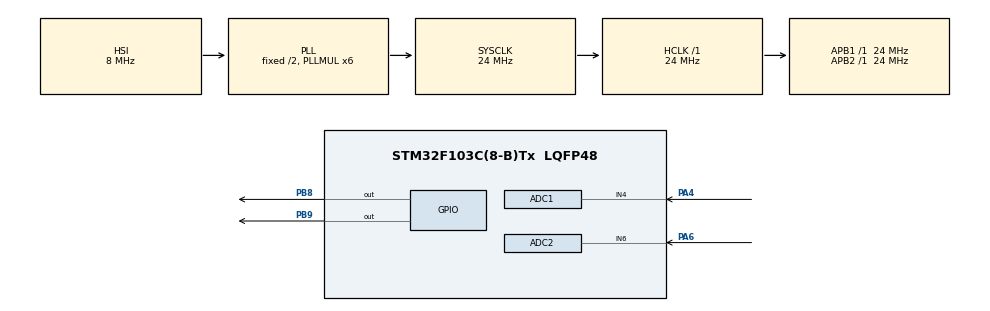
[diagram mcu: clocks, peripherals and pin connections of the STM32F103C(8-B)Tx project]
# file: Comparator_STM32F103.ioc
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Mcu.Family=STM32F1
ADC1.Rank-0\#ChannelRegularConversion=1
ADC1.ContinuousConvMode=ENABLE
ADC2.Channel-0\#ChannelRegularConversion=ADC_CHANNEL_6
SH.ADCx_IN6.0=ADC2_IN6,IN6
VP_SYS_VS_ND.Mode=No_Debug
RCC.SYSCLKSource=RCC_SYSCLKSOURCE_PLLCLK
ProjectManager.StackSize=0x400
ADC2.ContinuousConvMode=ENABLE
ProjectManager.TargetToolchain=STM32CubeIDE
RCC.HCLKFreq_Value=24000000
RCC.APB2TimFreq_Value=24000000
RCC.USBFreq_Value=24000000
RCC.AHBFreq_Value=24000000
ADC1.Channel-0\#ChannelRegularConversion=ADC_CHANNEL_4
board=custom
RCC.PLLMUL=RCC_PLL_MUL6
RCC.APB2Freq_Value=24000000
SH.ADCx_IN4.0=ADC1_IN4,IN4
Mcu.Name=STM32F103C(8-B)Tx
ADC1.SamplingTime-0\#ChannelRegularConversion=ADC_SAMPLETIME_1CYCLE_5
PA4.Signal=ADCx_IN4
RCC.SYSCLKFreq_VALUE=24000000
Mcu.Package=LQFP48
PB9.Signal=GPIO_Output
PA6.Signal=ADCx_IN6
ADC1.master=1
ADC2.NbrOfConversionFlag=1
ProjectManager.HeapSize=0x200
ADC2.SamplingTime-0\#ChannelRegularConversion=ADC_SAMPLETIME_1CYCLE_5
NVIC.PriorityGroup=NVIC_PRIORITYGROUP_4
ADC1.NbrOfConversionFlag=1
RCC.APB1TimFreq_Value=24000000
PB8.Signal=GPIO_Output
ADC2.Rank-0\#ChannelRegularConversion=1
RCC.APB1Freq_Value=24000000

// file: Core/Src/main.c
/* USER CODE BEGIN Header */
/**
  ******************************************************************************
  * @file           : main.c
  * @brief          : Main program body
  ******************************************************************************
  * @attention
  *
  * <h2><center>&copy; Copyright (c) 2021 STMicroelectronics.
  * All rights reserved.</center></h2>
  *
  * This software component is licensed by ST under BSD 3-Clause license,
  * the "License"; You may not use this file except in compliance with the
  * License. You may obtain a copy of the License at:
  *                        opensource.org/licenses/BSD-3-Clause
  *
  ******************************************************************************
  */
/* USER CODE END Header */
#include "main.h"

/* USER CODE BEGIN PD */
#define HI_HISTERESIS_BORDER 2400
#define LO_HISTERESIS_BORDER 1600
/* USER CODE END PD */

ADC_HandleTypeDef hadc1;
ADC_HandleTypeDef hadc2;

void SystemClock_Config(void);
static void MX_GPIO_Init(void);
static void MX_ADC1_Init(void);
static void MX_ADC2_Init(void);

int main(void)
{

  /* MCU Configuration--------------------------------------------------------*/

  /* Reset of all peripherals, Initializes the Flash interface and the Systick. */
  HAL_Init();

  /* USER CODE BEGIN Init */
  int lChannelResult = 0;
  int rChannelResult = 0;
  /* USER CODE END Init */

  /* Configure the system clock */
  SystemClock_Config();

  /* Initialize all configured peripherals */
  MX_GPIO_Init();
  MX_ADC1_Init();
  MX_ADC2_Init();

  /* Infinite loop */
  /* USER CODE BEGIN WHILE */
  while (1)
  {
	  HAL_ADC_Start(&hadc1);
	  HAL_ADC_PollForConversion(&hadc1, 100);
	  lChannelResult = HAL_ADC_GetValue(&hadc1);
	  HAL_ADC_Stop(&hadc1);

	  HAL_ADC_Start(&hadc2);
	  HAL_ADC_PollForConversion(&hadc2, 100);
	  rChannelResult = HAL_ADC_GetValue(&hadc2);
	  HAL_ADC_Stop(&hadc2);

	  if (lChannelResult > HI_HISTERESIS_BORDER) {
		  HAL_GPIO_WritePin(GPIOB, GPIO_PIN_8, GPIO_PIN_SET);
	  } else if (lChannelResult < LO_HISTERESIS_BORDER) {
		  HAL_GPIO_WritePin(GPIOB, GPIO_PIN_8, GPIO_PIN_RESET);
	  }

	  if (rChannelResult > HI_HISTERESIS_BORDER) {
		  HAL_GPIO_WritePin(GPIOB, GPIO_PIN_9, GPIO_PIN_SET);
	  } else if (rChannelResult < LO_HISTERESIS_BORDER) {
		  HAL_GPIO_WritePin(GPIOB, GPIO_PIN_9, GPIO_PIN_RESET);
	  }

    /* USER CODE END WHILE */

  }
}

void SystemClock_Config(void)
{
  RCC_OscInitTypeDef RCC_OscInitStruct = {0};
  RCC_ClkInitTypeDef RCC_ClkInitStruct = {0};
  RCC_PeriphCLKInitTypeDef PeriphClkInit = {0};

  /** Initializes the RCC Oscillators according to the specified parameters
  * in the RCC_OscInitTypeDef structure.
  */
  RCC_OscInitStruct.OscillatorType = RCC_OSCILLATORTYPE_HSI;
  RCC_OscInitStruct.HSIState = RCC_HSI_ON;
  RCC_OscInitStruct.HSICalibrationValue = RCC_HSICALIBRATION_DEFAULT;
  RCC_OscInitStruct.PLL.PLLState = RCC_PLL_ON;
  RCC_OscInitStruct.PLL.PLLSource = RCC_PLLSOURCE_HSI_DIV2;
  RCC_OscInitStruct.PLL.PLLMUL = RCC_PLL_MUL6;
  if (HAL_RCC_OscConfig(&RCC_OscInitStruct) != HAL_OK)
  {
    Error_Handler();
  }
  /** Initializes the CPU, AHB and APB buses clocks
  */
  RCC_ClkInitStruct.ClockType = RCC_CLOCKTYPE_HCLK|RCC_CLOCKTYPE_SYSCLK
                              |RCC_CLOCKTYPE_PCLK1|RCC_CLOCKTYPE_PCLK2;
  RCC_ClkInitStruct.SYSCLKSource = RCC_SYSCLKSOURCE_PLLCLK;
  RCC_ClkInitStruct.AHBCLKDivider = RCC_SYSCLK_DIV1;
  RCC_ClkInitStruct.APB1CLKDivider = RCC_HCLK_DIV1;
  RCC_ClkInitStruct.APB2CLKDivider = RCC_HCLK_DIV1;

  if (HAL_RCC_ClockConfig(&RCC_ClkInitStruct, FLASH_LATENCY_0) != HAL_OK)
  {
    Error_Handler();
  }
  PeriphClkInit.PeriphClockSelection = RCC_PERIPHCLK_ADC;
  PeriphClkInit.AdcClockSelection = RCC_ADCPCLK2_DIV2;
  if (HAL_RCCEx_PeriphCLKConfig(&PeriphClkInit) != HAL_OK)
  {
    Error_Handler();
  }
}

static void MX_ADC1_Init(void)
{

  ADC_ChannelConfTypeDef sConfig = {0};

  /** Common config
  */
  hadc1.Instance = ADC1;
  hadc1.Init.ScanConvMode = ADC_SCAN_DISABLE;
  hadc1.Init.ContinuousConvMode = ENABLE;
  hadc1.Init.DiscontinuousConvMode = DISABLE;
  hadc1.Init.ExternalTrigConv = ADC_SOFTWARE_START;
  hadc1.Init.DataAlign = ADC_DATAALIGN_RIGHT;
  hadc1.Init.NbrOfConversion = 1;
  if (HAL_ADC_Init(&hadc1) != HAL_OK)
  {
    Error_Handler();
  }
  /** Configure Regular Channel
  */
  sConfig.Channel = ADC_CHANNEL_4;
  sConfig.Rank = ADC_REGULAR_RANK_1;
  sConfig.SamplingTime = ADC_SAMPLETIME_1CYCLE_5;
  if (HAL_ADC_ConfigChannel(&hadc1, &sConfig) != HAL_OK)
  {
    Error_Handler();
  }

}

static void MX_ADC2_Init(void)
{

  ADC_ChannelConfTypeDef sConfig = {0};

  /** Common config
  */
  hadc2.Instance = ADC2;
  hadc2.Init.ScanConvMode = ADC_SCAN_DISABLE;
  hadc2.Init.ContinuousConvMode = ENABLE;
  hadc2.Init.DiscontinuousConvMode = DISABLE;
  hadc2.Init.ExternalTrigConv = ADC_SOFTWARE_START;
  hadc2.Init.DataAlign = ADC_DATAALIGN_RIGHT;
  hadc2.Init.NbrOfConversion = 1;
  if (HAL_ADC_Init(&hadc2) != HAL_OK)
  {
    Error_Handler();
  }
  /** Configure Regular Channel
  */
  sConfig.Channel = ADC_CHANNEL_6;
  sConfig.Rank = ADC_REGULAR_RANK_1;
  sConfig.SamplingTime = ADC_SAMPLETIME_1CYCLE_5;
  if (HAL_ADC_ConfigChannel(&hadc2, &sConfig) != HAL_OK)
  {
    Error_Handler();
  }

}

static void MX_GPIO_Init(void)
{
  GPIO_InitTypeDef GPIO_InitStruct = {0};

  /* GPIO Ports Clock Enable */
  __HAL_RCC_GPIOA_CLK_ENABLE();
  __HAL_RCC_GPIOB_CLK_ENABLE();

  /*Configure GPIO pin Output Level */
  HAL_GPIO_WritePin(GPIOB, GPIO_PIN_8|GPIO_PIN_9, GPIO_PIN_RESET);

  /*Configure GPIO pins : PB8 PB9 */
  GPIO_InitStruct.Pin = GPIO_PIN_8|GPIO_PIN_9;
  GPIO_InitStruct.Mode = GPIO_MODE_OUTPUT_PP;
  GPIO_InitStruct.Pull = GPIO_NOPULL;
  GPIO_InitStruct.Speed = GPIO_SPEED_FREQ_LOW;
  HAL_GPIO_Init(GPIOB, &GPIO_InitStruct);

}

void Error_Handler(void)
{
  __disable_irq();
  while (1)
  {
  }
}

/************************ (C) COPYRIGHT STMicroelectronics *****END OF FILE****/
